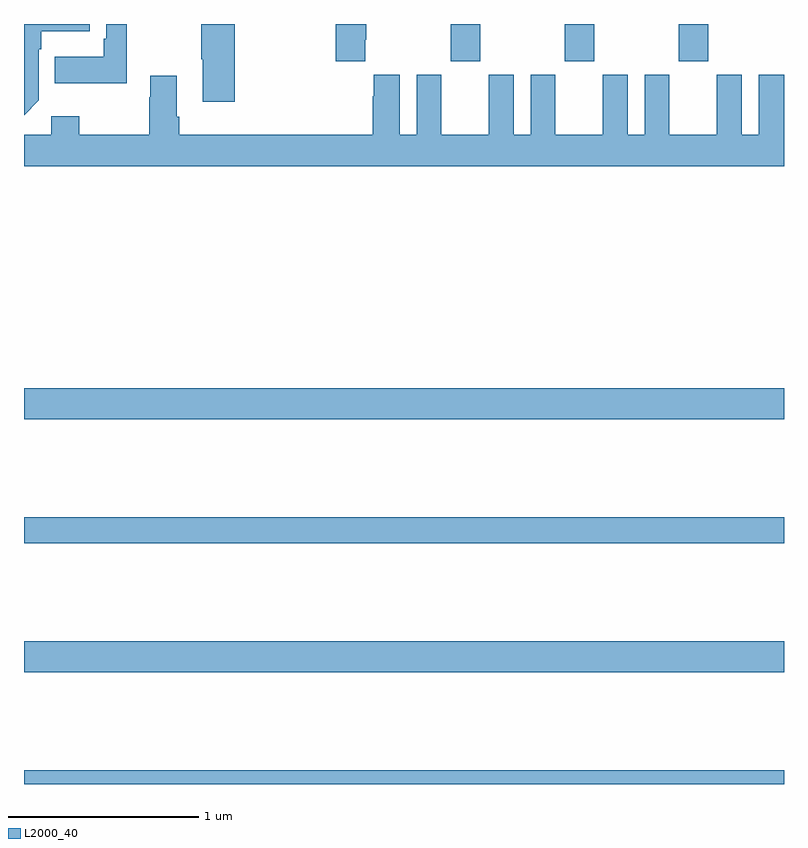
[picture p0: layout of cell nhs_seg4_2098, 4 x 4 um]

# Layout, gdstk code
import gdstk
lib = gdstk.Library(unit=1e-6, precision=1e-09)
def R(c, l, rs):  # rectangles x0, y0, x1, y1
    for r in rs: c.add(gdstk.rectangle(r[:2], r[2:], *l))
def A(c, l, x, y, w, h, nx, ny, dx, dy):  # array of equal rectangles
    R(c, l, [(x+i*dx, y+j*dy, x+i*dx+w, y+j*dy+h) for i in range(nx) for j in range(ny)])
def P(c, l, *ps):  # polygons
    for p in ps: c.add(gdstk.Polygon(p, *l))
L2000_40 = (2000, 40)

nhs_seg4_2098 = lib.new_cell('nhs_seg4_2098')
A(nhs_seg4_2098, L2000_40, 221.245, 798.705, 0.155, 0.195, 3, 1, 0.6, 0)
R(nhs_seg4_2098, L2000_40, [(219,794.9,223,794.972), (219,795.488,223,795.652), (219,796.168,223,796.304), (219,796.82,223,796.984)])
P(nhs_seg4_2098, L2000_40, [(220.795,798.817),(220.8,798.817),(220.8,798.9),(220.64,798.9),(220.64,798.705),(220.795,798.705)],
  [(219.541,798.9),(219.432,798.9),(219.432,798.823),(219.42,798.823),(219.42,798.727),(219.163,798.727),(219.163,798.587),(219.541,798.587)],
  [(219.078,798.498),(219.078,798.767),(219.091,798.767),(219.091,798.863),(219.347,798.863),(219.347,798.9),(219,798.9),(219,798.42)],
  [(220.109,798.9),(219.934,798.9),(219.934,798.715),(219.941,798.715),(219.941,798.492),(220.109,798.492)],
  [(223,798.634),(222.866,798.634),(222.866,798.316),(222.778,798.316),(222.778,798.634),(222.647,798.634),(222.647,798.316),(222.397,798.316),(222.397,798.634),(222.266,798.634),(222.266,798.316),(222.178,798.316),(222.178,798.634),(222.047,798.634),(222.047,798.316),(221.797,798.316),(221.797,798.634),(221.666,798.634),(221.666,798.316),(221.578,798.316),(221.578,798.634),(221.447,798.634),(221.447,798.316),(221.197,798.316),(221.197,798.634),(221.066,798.634),(221.066,798.316),(220.978,798.316),(220.978,798.634),(220.841,798.634),(220.841,798.521),(220.835,798.521),(220.835,798.316),(219.818,798.316),(219.818,798.412),(219.805,798.412),(219.805,798.628),(219.665,798.628),(219.665,798.515),(219.658,798.515),(219.658,798.316),(219.291,798.316),(219.291,798.415),(219.144,798.415),(219.144,798.316),(219,798.316),(219,798.152),(223,798.152)])

lib.write_gds('nhs_seg4_2098.gds')
